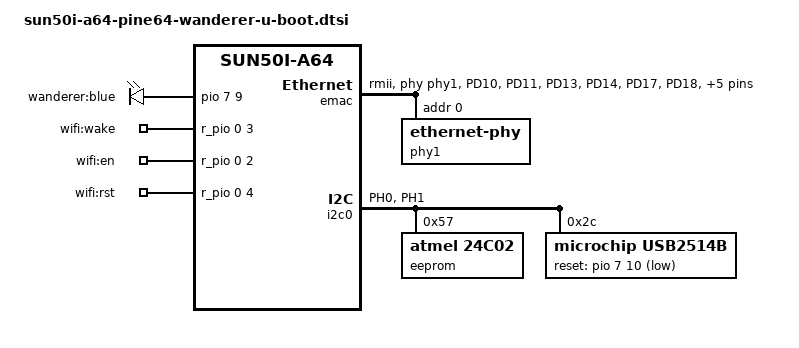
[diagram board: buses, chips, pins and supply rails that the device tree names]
/ {
	aliases {
		ethernet0 = &emac;
	};

	soc {
		emac: ethernet@01c30000 {
			compatible = "allwinner,sun50i-a64-emac";
			reg = <0x01c30000 0x2000>, <0x01c00030 0x4>;
			reg-names = "emac", "syscon";
			interrupts = <GIC_SPI 82 IRQ_TYPE_LEVEL_HIGH>;
			resets = <&ccu RST_BUS_EMAC>;
			reset-names = "ahb";
			clocks = <&ccu CLK_BUS_EMAC>;
			clock-names = "ahb";
			#address-cells = <1>;
			#size-cells = <0>;
			pinctrl-names = "default";
			pinctrl-0 = <&rmii_pins>;
			phy-mode = "rmii";
			phy = <&phy1>;
			snps,reset-gpio = <&pio 7 11 GPIO_ACTIVE_HIGH>;
			snps,reset-active-low;
			snps,reset-delays-us = <0 10000 1000000>;
			status = "okay";

			phy1: ethernet-phy@0 {
				reg = <0>;
			};
		};
	};
	
	leds {
		compatible = "gpio-leds";
		blue {
			label = "wanderer:blue";
			gpios = <&pio 7 9 GPIO_ACTIVE_HIGH>; /* PH9 */
			default-state = "on";
		};
		wifi_wake {
			label = "wifi:wake";
			gpios = <&r_pio 0 3 GPIO_ACTIVE_HIGH>;
			default-state = "on";
		};
		wifi_en {
			label = "wifi:en";
			gpios = <&r_pio 0 2 GPIO_ACTIVE_HIGH>;
			default-state = "on";
		};
		wifi_rst {
			label = "wifi:rst";
			gpios = <&r_pio 0 4 GPIO_ACTIVE_HIGH>;
			default-state = "on";
		};
	};
	
};

&i2c0 {
	pinctrl-names = "default";
	pinctrl-0 = <&i2c0_pins>;
	status = "okay";
		eeprom: eeprom@57 {
		compatible = "atmel,24c02";
		reg = <0x57>;
		pagesize = <8>;
	};
	usb2514b@2c {
		compatible = "microchip,usb2514b";
		reg = <0x2c>;
		reset-gpios = <&pio 7 10 GPIO_ACTIVE_LOW>;
	};
};


&pio {
	i2c0_pins: i2c1_pins {
		pins = "PH0", "PH1";
		function = "i2c0";
	};
	rmii_pins: rmii_pins {
		allwinner,pins = "PD10", "PD11", "PD13", "PD14",
				 "PD17", "PD18", "PD19", "PD20",
				 "PD22", "PD23";
		allwinner,function = "emac";
		allwinner,drive = <3>;
		allwinner,pull = <0>;
	};

	rgmii_pins: rgmii_pins {
		allwinner,pins = "PD8", "PD9", "PD10", "PD11",
				 "PD12", "PD13", "PD15",
				 "PD16", "PD17", "PD18", "PD19",
				 "PD20", "PD21", "PD22", "PD23";
		allwinner,function = "emac";
		allwinner,drive = <3>;
		allwinner,pull = <0>;
	};
};
